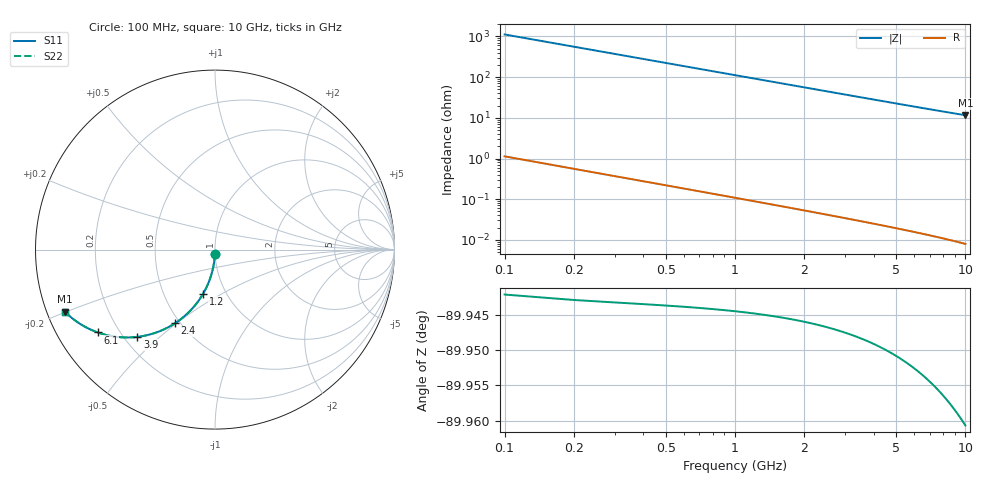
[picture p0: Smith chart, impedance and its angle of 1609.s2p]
# Hz S RI R 50.00
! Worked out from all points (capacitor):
!   100 points, 100 MHz to 10 GHz, reference 50 ohm
!   read as one part in shunt: C = 1.42 pF near 100 MHz
!   lowest |Z| = 11.6 ohm at 10 GHz (marker M1)
!   S11 on the Smith chart (normalised r, x): 100 MHz: 1.00, -0.04; 1.2 GHz: 0.78, -0.41; 2.4 GHz: 0.47, -0.49; 3.9 GHz: 0.25, -0.42; 6.1 GHz: 0.12, -0.31; 10 GHz: 0.05, -0.20
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1e8  -0.000372 -0.0221  0.9993 -0.0226  0.9993 -0.0226  -0.000372 -0.0221
2e8  -0.00189 -0.0441  0.9978 -0.045  0.9978 -0.045  -0.00189 -0.0441
3e8  -0.00439 -0.066  0.9953 -0.0674  0.9953 -0.0674  -0.00439 -0.066
4e8  -0.00786 -0.0877  0.9918 -0.0895  0.9918 -0.0895  -0.00786 -0.0877
5e8  -0.0123 -0.1092  0.9874 -0.1114  0.9874 -0.1114  -0.0123 -0.1092
6e8  -0.0176 -0.1303  0.9821 -0.133  0.9821 -0.133  -0.0176 -0.1303
7e8  -0.0239 -0.151  0.9758 -0.1542  0.9758 -0.1542  -0.0239 -0.151
9e8  -0.0389 -0.1912  0.9608 -0.1952  0.9608 -0.1952  -0.0389 -0.1912
1.2e9  -0.0671 -0.2473  0.9325 -0.2527  0.9325 -0.2527  -0.0671 -0.2473
1.5e9  -0.1011 -0.2978  0.8986 -0.3045  0.8986 -0.3045  -0.1011 -0.2978
1.8e9  -0.1394 -0.342  0.8603 -0.3501  0.8603 -0.3501  -0.1394 -0.342
2.1e9  -0.1807 -0.3797  0.819 -0.3891  0.819 -0.3891  -0.1807 -0.3797
2.4e9  -0.2236 -0.4109  0.776 -0.4217  0.776 -0.4217  -0.2236 -0.4109
2.9e9  -0.2962 -0.4497  0.7034 -0.4626  0.7034 -0.4626  -0.2962 -0.4497
3.4e9  -0.3666 -0.4738  0.6329 -0.489  0.6329 -0.489  -0.3666 -0.4738
3.9e9  -0.4326 -0.4862  0.567 -0.5037  0.567 -0.5037  -0.4326 -0.4862
5.1e9  -0.5666 -0.4835  0.4328 -0.5065  0.4328 -0.5065  -0.5666 -0.4835
6.1e9  -0.6522 -0.4618  0.3471 -0.4894  0.3471 -0.4894  -0.6522 -0.4618
6.7e9  -0.6939 -0.445  0.3053 -0.4753  0.3053 -0.4753  -0.6939 -0.445
7.5e9  -0.7402 -0.4207  0.2589 -0.4547  0.2589 -0.4547  -0.7402 -0.4207
8.4e9  -0.782 -0.3928  0.2169 -0.4311  0.2169 -0.4311  -0.782 -0.3928
1e10  -0.8366 -0.3456  0.162 -0.3914  0.162 -0.3914  -0.8366 -0.3456
